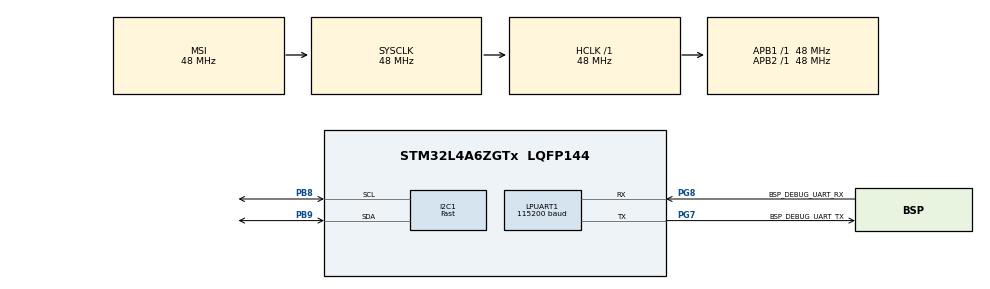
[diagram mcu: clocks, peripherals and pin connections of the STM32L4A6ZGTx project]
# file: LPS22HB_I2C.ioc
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I2C1.I2C_Speed_Mode=I2C_Fast
I2C1.Timing=0x2010091A
LPUART1.BaudRate=115200
LPUART1.WordLength=UART_WORDLENGTH_8B
Mcu.Family=STM32L4
Mcu.Name=STM32L4A6ZGTx
Mcu.Package=LQFP144
NVIC.PriorityGroup=NVIC_PRIORITYGROUP_4
PB8.Mode=I2C
PB8.Signal=I2C1_SCL
PB9.Mode=I2C
PB9.Signal=I2C1_SDA
PG7.GPIO_Label=BSP_DEBUG_UART_TX
PG7.Mode=Asynchronous
PG7.Signal=LPUART1_TX
PG8.GPIO_Label=BSP_DEBUG_UART_RX
PG8.Mode=Asynchronous
PG8.Signal=LPUART1_RX
ProjectManager.HeapSize=0x200
ProjectManager.StackSize=0x400
ProjectManager.TargetToolchain=STM32CubeIDE
RCC.ADCFreq_Value=192000000
RCC.AHBFreq_Value=48000000
RCC.APB1Freq_Value=48000000
RCC.APB1TimFreq_Value=48000000
RCC.APB2Freq_Value=48000000
RCC.APB2TimFreq_Value=48000000
RCC.CortexFreq_Value=48000000
RCC.HCLKFreq_Value=48000000
RCC.HSE_VALUE=8000000
RCC.HSI48_VALUE=48000000
RCC.HSI_VALUE=16000000
RCC.LSE_VALUE=32768
RCC.MSIClockRange=RCC_MSIRANGE_11
RCC.MSI_VALUE=48000000
RCC.SYSCLKFreq_VALUE=48000000
RCC.USBFreq_Value=192000000
RCC.VCOOutputFreq_Value=384000000
board=NUCLEO-L4A6ZG

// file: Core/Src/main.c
/* USER CODE BEGIN Header */
/**
  ******************************************************************************
  * @file           : main.c
  * @brief          : Main program body
  ******************************************************************************
  * @attention
  *
  * Copyright (c) 2024 STMicroelectronics.
  * All rights reserved.
  *
  * This software is licensed under terms that can be found in the LICENSE file
  * in the root directory of this software component.
  * If no LICENSE file comes with this software, it is provided AS-IS.
  *
  ******************************************************************************
  */
/* USER CODE END Header */
#include "main.h"

/* USER CODE BEGIN Includes */
#include "lps22hb_reg.h"
#include "stdio.h"
#include "string.h"
/* USER CODE END Includes */

/* USER CODE BEGIN PM */
#define NUCLEO_L4A6ZG
#define SENSOR_BUS hi2c1
/* USER CODE END PM */

I2C_HandleTypeDef hi2c1;

UART_HandleTypeDef hlpuart1;

/* USER CODE BEGIN PV */
static uint32_t data_raw_pressure;
static int16_t data_raw_temperature;
static float pressure_hPa;
static float temperature_degC;
static uint8_t whoamI, rst;
static uint8_t tx_buffer[256];
static stmdev_ctx_t dev_ctx;
/* USER CODE END PV */

void SystemClock_Config(void);
static void MX_GPIO_Init(void);
static void MX_I2C1_Init(void);
static void MX_LPUART1_UART_Init(void);
/* USER CODE BEGIN PFP */

void I2C_Scanner(void);
static int32_t platform_write(void *handle, uint8_t reg, const uint8_t *bufp,
                              uint16_t len);
static int32_t platform_read(void *handle, uint8_t reg, uint8_t *bufp,
                             uint16_t len);
static void tx_com( uint8_t *tx_buffer, uint16_t len );
static void platform_init(void);
static void platform_delay(uint32_t ms);
/* USER CODE END PFP */

int main(void)
{

  /* MCU Configuration--------------------------------------------------------*/

  /* Reset of all peripherals, Initializes the Flash interface and the Systick. */
  HAL_Init();

  /* Configure the system clock */
  SystemClock_Config();

  /* Initialize all configured peripherals */
  MX_GPIO_Init();
  MX_I2C1_Init();
  MX_LPUART1_UART_Init();
  /* USER CODE BEGIN 2 */

  I2C_Scanner();

  //	void lps22hb_read_data_polling(void)
  //	{
  	  /* Initialize mems driver interface */
  	  dev_ctx.write_reg = platform_write;
  	  dev_ctx.read_reg = platform_read;
  	  dev_ctx.mdelay = platform_delay;
  	  dev_ctx.handle = &SENSOR_BUS;

  	  /* Check device ID */
  	  lps22hb_device_id_get(&dev_ctx, &whoamI);

  	  if (whoamI != LPS22HB_ID) {
  	    while (1)/* manage here device not found */;
  	  }

  	  /* Restore default configuration */
  	  lps22hb_reset_set(&dev_ctx, PROPERTY_ENABLE);

  	  do {
  	    lps22hb_reset_get(&dev_ctx, &rst);
  	  } while (rst);

  /* Enable Block Data Update */
  //lps22hb_block_data_update_set(&dev_ctx, PROPERTY_ENABLE);
  /* Can be enabled low pass filter on output */
  lps22hb_low_pass_filter_mode_set(&dev_ctx, LPS22HB_LPF_ODR_DIV_9);
  /* Can be set Data-ready signal on INT_DRDY pin */
  //lps22hb_drdy_on_int_set(&dev_ctx, PROPERTY_ENABLE);
  /* Set Output Data Rate */
  lps22hb_data_rate_set(&dev_ctx, LPS22HB_ODR_50_Hz);

  /* USER CODE END 2 */

  /* Infinite loop */
  /* USER CODE BEGIN WHILE */
  while (1)
  {
	  uint8_t reg;
	      /* Read output only if new value is available */
	      lps22hb_press_data_ready_get(&dev_ctx, &reg);

	      if (reg) {
	        memset(&data_raw_pressure, 0x00, sizeof(int32_t));
	        lps22hb_pressure_raw_get(&dev_ctx, &data_raw_pressure);
//	        printf("Raw Pressure Data: %ld\n", data_raw_pressure);
	        pressure_hPa = lps22hb_from_lsb_to_hpa(data_raw_pressure);
	        sprintf((char *)tx_buffer, "pressure [hPa]:%6.2f\r\n", pressure_hPa);
	        tx_com(tx_buffer, strlen((char const *)tx_buffer));
	        memset(&data_raw_temperature, 0x00, sizeof(int16_t));
	        lps22hb_temperature_raw_get(&dev_ctx, &data_raw_temperature);
//	        printf("Raw Temperature Data: %d\n", data_raw_temperature);
	        temperature_degC = lps22hb_from_lsb_to_degc(data_raw_temperature);
	        sprintf((char *)tx_buffer, "temperature [degC]:%6.2f\r\n",
	                temperature_degC);
	        tx_com(tx_buffer, strlen((char const *)tx_buffer));
	        printf("---------------------------------------------------\r\n");
	        HAL_Delay(1000);
	      }
    /* USER CODE END WHILE */

  }
}

void SystemClock_Config(void)
{
  RCC_OscInitTypeDef RCC_OscInitStruct = {0};
  RCC_ClkInitTypeDef RCC_ClkInitStruct = {0};

  /** Configure the main internal regulator output voltage
  */
  if (HAL_PWREx_ControlVoltageScaling(PWR_REGULATOR_VOLTAGE_SCALE1) != HAL_OK)
  {
    Error_Handler();
  }

  /** Initializes the RCC Oscillators according to the specified parameters
  * in the RCC_OscInitTypeDef structure.
  */
  RCC_OscInitStruct.OscillatorType = RCC_OSCILLATORTYPE_MSI;
  RCC_OscInitStruct.MSIState = RCC_MSI_ON;
  RCC_OscInitStruct.MSICalibrationValue = 0;
  RCC_OscInitStruct.MSIClockRange = RCC_MSIRANGE_11;
  RCC_OscInitStruct.PLL.PLLState = RCC_PLL_NONE;
  if (HAL_RCC_OscConfig(&RCC_OscInitStruct) != HAL_OK)
  {
    Error_Handler();
  }

  /** Initializes the CPU, AHB and APB buses clocks
  */
  RCC_ClkInitStruct.ClockType = RCC_CLOCKTYPE_HCLK|RCC_CLOCKTYPE_SYSCLK
                              |RCC_CLOCKTYPE_PCLK1|RCC_CLOCKTYPE_PCLK2;
  RCC_ClkInitStruct.SYSCLKSource = RCC_SYSCLKSOURCE_MSI;
  RCC_ClkInitStruct.AHBCLKDivider = RCC_SYSCLK_DIV1;
  RCC_ClkInitStruct.APB1CLKDivider = RCC_HCLK_DIV1;
  RCC_ClkInitStruct.APB2CLKDivider = RCC_HCLK_DIV1;

  if (HAL_RCC_ClockConfig(&RCC_ClkInitStruct, FLASH_LATENCY_2) != HAL_OK)
  {
    Error_Handler();
  }
}

static void MX_I2C1_Init(void)
{

  hi2c1.Instance = I2C1;
  hi2c1.Init.Timing = 0x2010091A;
  hi2c1.Init.OwnAddress1 = 0;
  hi2c1.Init.AddressingMode = I2C_ADDRESSINGMODE_7BIT;
  hi2c1.Init.DualAddressMode = I2C_DUALADDRESS_DISABLE;
  hi2c1.Init.OwnAddress2 = 0;
  hi2c1.Init.OwnAddress2Masks = I2C_OA2_NOMASK;
  hi2c1.Init.GeneralCallMode = I2C_GENERALCALL_DISABLE;
  hi2c1.Init.NoStretchMode = I2C_NOSTRETCH_DISABLE;
  if (HAL_I2C_Init(&hi2c1) != HAL_OK)
  {
    Error_Handler();
  }

  /** Configure Analogue filter
  */
  if (HAL_I2CEx_ConfigAnalogFilter(&hi2c1, I2C_ANALOGFILTER_ENABLE) != HAL_OK)
  {
    Error_Handler();
  }

  /** Configure Digital filter
  */
  if (HAL_I2CEx_ConfigDigitalFilter(&hi2c1, 0) != HAL_OK)
  {
    Error_Handler();
  }

}

static void MX_LPUART1_UART_Init(void)
{

  hlpuart1.Instance = LPUART1;
  hlpuart1.Init.BaudRate = 115200;
  hlpuart1.Init.WordLength = UART_WORDLENGTH_8B;
  hlpuart1.Init.StopBits = UART_STOPBITS_1;
  hlpuart1.Init.Parity = UART_PARITY_NONE;
  hlpuart1.Init.Mode = UART_MODE_TX_RX;
  hlpuart1.Init.HwFlowCtl = UART_HWCONTROL_NONE;
  hlpuart1.Init.OneBitSampling = UART_ONE_BIT_SAMPLE_DISABLE;
  hlpuart1.AdvancedInit.AdvFeatureInit = UART_ADVFEATURE_NO_INIT;
  if (HAL_UART_Init(&hlpuart1) != HAL_OK)
  {
    Error_Handler();
  }

}

static void MX_GPIO_Init(void)
{

  /* GPIO Ports Clock Enable */
  __HAL_RCC_GPIOG_CLK_ENABLE();
  HAL_PWREx_EnableVddIO2();
  __HAL_RCC_GPIOB_CLK_ENABLE();

}

/* USER CODE BEGIN 4 */

void I2C_Scanner(void)
{
	printf("\r\n");

	 	printf("Scanning I2C bus:\r\n");
		HAL_StatusTypeDef result;
	 	uint8_t i;
	 	for (i=1; i<128; i++)
	 	{
	 	  /*
	 	   * the HAL wants a left aligned i2c address
	 	   * &hi2c1 is the handle
	 	   * (uint16_t)(i<<1) is the i2c address left aligned
	 	   * retries 2
	 	   * timeout 2
	 	   */
	 	  result = HAL_I2C_IsDeviceReady(&hi2c1, (uint16_t)(i<<1), 2, 2);
	 	  if (result != HAL_OK) // HAL_ERROR or HAL_BUSY or HAL_TIMEOUT
	 	  {
	 		  printf("."); // No ACK received at that address
	 	  }
	 	  if (result == HAL_OK)
	 	  {
	 		  printf("\r\nSlave Address: 0x%X\r\n", i); // Received an ACK at that address
	 	  }
	 	}
	 	printf("\r\n");
}

/*
 * @brief  Write generic device register (platform dependent)
 *
 * @param  handle    customizable argument. In this examples is used in
 *                   order to select the correct sensor bus handler.
 * @param  reg       register to write
 * @param  bufp      pointer to data to write in register reg
 * @param  len       number of consecutive register to write
 *
 */
static int32_t platform_write(void *handle, uint8_t reg, const uint8_t *bufp,
                              uint16_t len)
{
#if defined(NUCLEO_L4A6ZG)
  HAL_I2C_Mem_Write(handle, LPS22HB_I2C_ADD_L, reg,
                    I2C_MEMADD_SIZE_8BIT, (uint8_t*) bufp, len, 1000);
#elif defined(STEVAL_MKI109V3)
  HAL_GPIO_WritePin(CS_up_GPIO_Port, CS_up_Pin, GPIO_PIN_RESET);
  HAL_SPI_Transmit(handle, &reg, 1, 1000);
  HAL_SPI_Transmit(handle, (uint8_t*) bufp, len, 1000);
  HAL_GPIO_WritePin(CS_up_GPIO_Port, CS_up_Pin, GPIO_PIN_SET);
#elif defined(SPC584B_DIS)
  i2c_lld_write(handle,  LPS22HB_I2C_ADD_H & 0xFE, reg, (uint8_t*) bufp, len);
#endif
  return 0;
}

/*
 * @brief  Read generic device register (platform dependent)
 *
 * @param  handle    customizable argument. In this examples is used in
 *                   order to select the correct sensor bus handler.
 * @param  reg       register to read
 * @param  bufp      pointer to buffer that store the data read
 * @param  len       number of consecutive register to read
 *
 */
static int32_t platform_read(void *handle, uint8_t reg, uint8_t *bufp,
                             uint16_t len)
{
#if defined(NUCLEO_L4A6ZG)
  HAL_I2C_Mem_Read(handle, LPS22HB_I2C_ADD_L, reg,
                   I2C_MEMADD_SIZE_8BIT, bufp, len, 1000);
#elif defined(STEVAL_MKI109V3)
  reg |= 0x80;
  HAL_GPIO_WritePin(CS_up_GPIO_Port, CS_up_Pin, GPIO_PIN_RESET);
  HAL_SPI_Transmit(handle, &reg, 1, 1000);
  HAL_SPI_Receive(handle, bufp, len, 1000);
  HAL_GPIO_WritePin(CS_up_GPIO_Port, CS_up_Pin, GPIO_PIN_SET);
#elif defined(SPC584B_DIS)
  i2c_lld_read(handle, LPS22HB_I2C_ADD_H & 0xFE, reg, bufp, len);
#endif
  return 0;
}

/*
 * @brief  Write generic device register (platform dependent)
 *
 * @param  tx_buffer     buffer to transmit
 * @param  len           number of byte to send
 *
 */
static void tx_com(uint8_t *tx_buffer, uint16_t len)
{
#if defined(NUCLEO_L4A6ZG)
  HAL_UART_Transmit(&hlpuart1, tx_buffer, len, 1000);
#elif defined(STEVAL_MKI109V3)
  CDC_Transmit_FS(tx_buffer, len);
#elif defined(SPC584B_DIS)
  sd_lld_write(&SD2, tx_buffer, len);
#endif
}

/*
 * @brief  platform specific delay (platform dependent)
 *
 * @param  ms        delay in ms
 *
 */
static void platform_delay(uint32_t ms)
{
#if defined(NUCLEO_L4A6ZG) | defined(STEVAL_MKI109V3)
  HAL_Delay(ms);
#elif defined(SPC584B_DIS)
  osalThreadDelayMilliseconds(ms);
#endif
}

/*
 * @brief  platform specific initialization (platform dependent)
 */
static void platform_init(void)
{
#if defined(STEVAL_MKI109V3)
  TIM3->CCR1 = PWM_3V3;
  TIM3->CCR2 = PWM_3V3;
  HAL_TIM_PWM_Start(&htim3, TIM_CHANNEL_1);
  HAL_TIM_PWM_Start(&htim3, TIM_CHANNEL_2);
  platform_delay(1000);
#endif
}
/* USER CODE END 4 */

void Error_Handler(void)
{
  __disable_irq();
  while (1)
  {
  }
}
